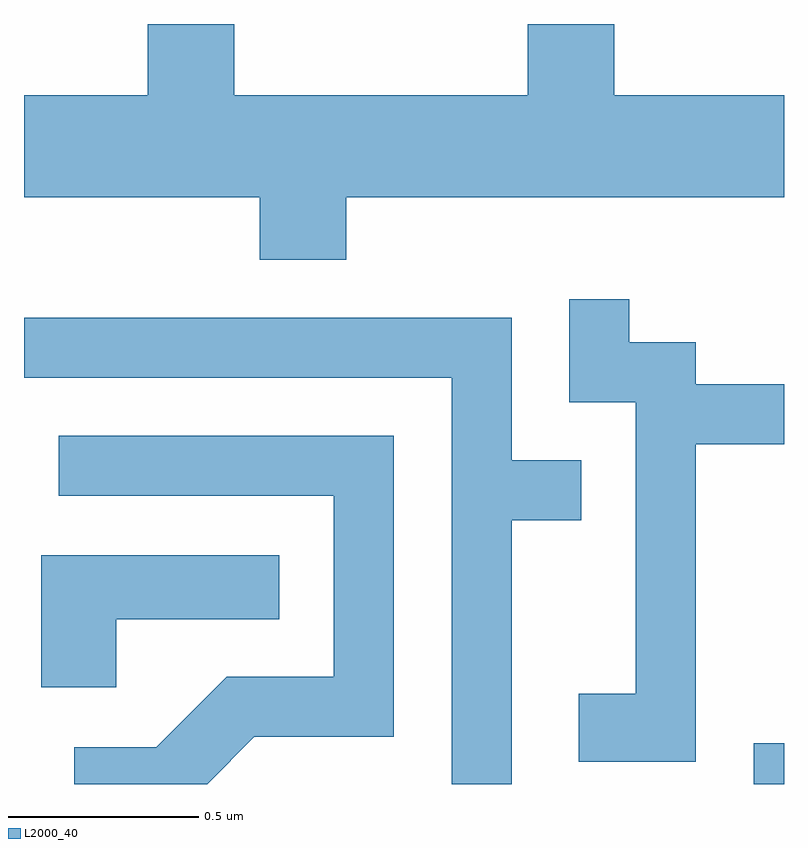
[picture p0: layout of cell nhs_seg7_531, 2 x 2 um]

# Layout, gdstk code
import gdstk
lib = gdstk.Library(unit=1e-6, precision=1e-09)
def R(c, l, rs):  # rectangles x0, y0, x1, y1
    for r in rs: c.add(gdstk.rectangle(r[:2], r[2:], *l))
def P(c, l, *ps):  # polygons
    for p in ps: c.add(gdstk.Polygon(p, *l))
L2000_40 = (2000, 40)

nhs_seg7_531 = lib.new_cell('nhs_seg7_531')
R(nhs_seg7_531, L2000_40, [(190.531,1788.252,190.611,1788.359)])
P(nhs_seg7_531, L2000_40, [(189.459,1789.796),(190.611,1789.796),(190.611,1790.064),(190.164,1790.064),(190.164,1790.252),(189.936,1790.252),(189.936,1790.064),(189.164,1790.064),(189.164,1790.252),(188.936,1790.252),(188.936,1790.064),(188.611,1790.064),(188.611,1789.796),(189.231,1789.796),(189.231,1789.631),(189.459,1789.631)],
  [(190.379,1789.146),(190.611,1789.146),(190.611,1789.304),(190.379,1789.304),(190.379,1789.414),(190.204,1789.414),(190.204,1789.528),(190.046,1789.528),(190.046,1789.256),(190.221,1789.256),(190.221,1788.489),(190.071,1788.489),(190.071,1788.311),(190.379,1788.311)],
  [(189.894,1788.946),(190.078,1788.946),(190.078,1789.104),(189.894,1789.104),(189.894,1789.479),(188.611,1789.479),(188.611,1789.321),(189.736,1789.321),(189.736,1788.252),(189.894,1788.252)],
  [(189.217,1788.376),(189.584,1788.376),(189.584,1789.169),(188.703,1789.169),(188.703,1789.011),(189.426,1789.011),(189.426,1788.534),(189.144,1788.534),(188.959,1788.349),(188.743,1788.349),(188.743,1788.252),(189.093,1788.252)],
  [(188.854,1788.686),(189.283,1788.686),(189.283,1788.854),(188.656,1788.854),(188.656,1788.506),(188.854,1788.506)])

lib.write_gds('nhs_seg7_531.gds')
